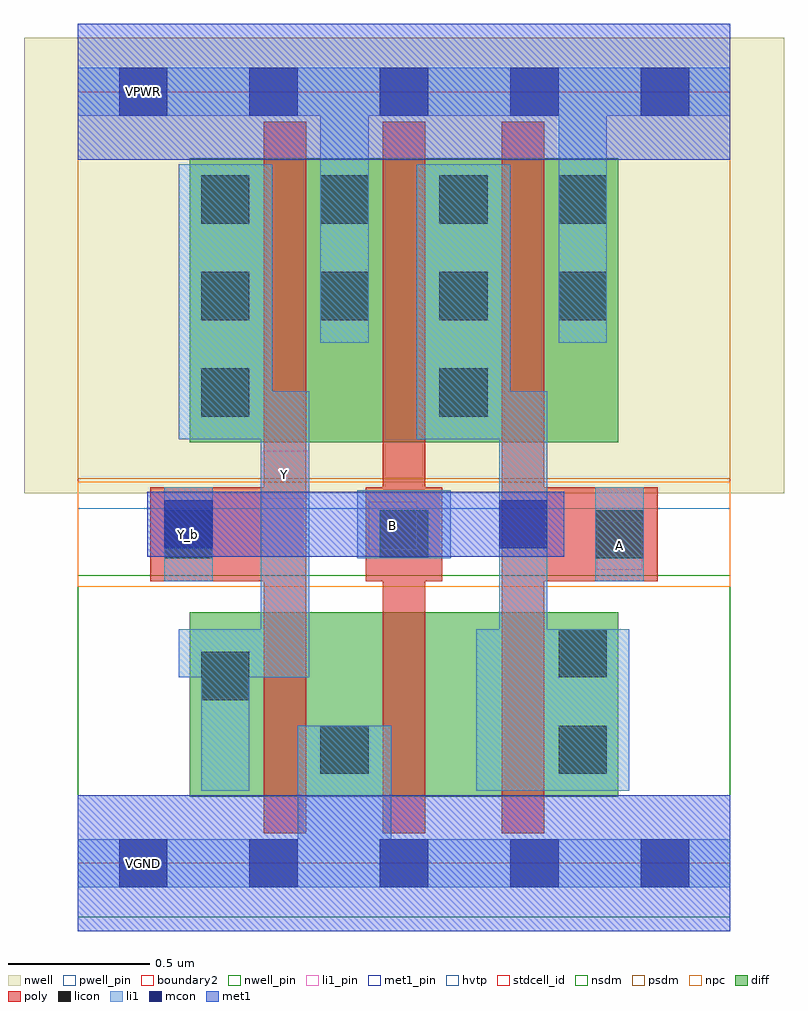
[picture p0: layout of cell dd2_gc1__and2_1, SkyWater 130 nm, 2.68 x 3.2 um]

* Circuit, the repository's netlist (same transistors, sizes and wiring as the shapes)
.subckt dd2_gc1__and2_1 A B VGND VNB VPB VPWR Y
X0 Y_b A n1 VNB sky130_fd_pr__nfet_01v8 w=0.65 l=0.15
X1 n1 B VGND VNB sky130_fd_pr__nfet_01v8 w=0.65 l=0.15
X2 Y_b A VPWR VPB sky130_fd_pr__pfet_01v8_hvt w=1 l=0.15
X3 Y_b B VPWR VPB sky130_fd_pr__pfet_01v8_hvt w=1 l=0.15
X4 Y Y_b VGND VNB sky130_fd_pr__nfet_01v8 w=0.65 l=0.15
X5 Y Y_b VPWR VPB sky130_fd_pr__pfet_01v8_hvt w=1 l=0.15
.ends

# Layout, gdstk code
import gdstk
lib = gdstk.Library(unit=1e-6, precision=1e-09)
def R(c, l, rs):  # rectangles x0, y0, x1, y1
    for r in rs: c.add(gdstk.rectangle(r[:2], r[2:], *l))
def A(c, l, x, y, w, h, nx, ny, dx, dy):  # array of equal rectangles
    R(c, l, [(x+i*dx, y+j*dy, x+i*dx+w, y+j*dy+h) for i in range(nx) for j in range(ny)])
nwell_pin = (64, 16)
nwell = (64, 20)
diff = (65, 20)
poly = (66, 20)
licon = (66, 44)
li1_pin = (67, 16)
li1 = (67, 20)
mcon = (67, 44)
met1_pin = (68, 16)
met1 = (68, 20)
hvtp = (78, 44)
stdcell_id = (81, 4)
nsdm = (93, 44)
psdm = (94, 20)
npc = (95, 20)
pwell_pin = (122, 16)
boundary2 = (236, 0)

dd2_gc1__and2_1 = lib.new_cell('dd2_gc1__and2_1')
R(dd2_gc1__and2_1, nwell_pin, [(0.145,2.635,0.315,2.805)])
R(dd2_gc1__and2_1, nwell, [(-0.19,1.305,2.49,2.91)])
R(dd2_gc1__and2_1, diff, [(0.395,0.235,1.905,0.885), (0.395,1.485,1.905,2.485)])
A(dd2_gc1__and2_1, poly, 0.655, 0.105, 0.15, 2.51, 3, 1, 0.42, 0)
R(dd2_gc1__and2_1, poly, [(0.255,0.995,0.805,1.325), (1.015,0.995,1.285,1.325), (1.495,0.995,2.045,1.325)])
A(dd2_gc1__and2_1, licon, 0.305, 1.075, 0.17, 0.17, 3, 1, 0.76, 0)
A(dd2_gc1__and2_1, licon, 0.435, 1.915, 0.17, 0.17, 4, 2, 0.42, 0.34)
R(dd2_gc1__and2_1, licon, [(0.855,0.315,1.025,0.485), (1.695,0.315,1.865,0.485), (0.435,0.575,0.605,0.745), (1.695,0.655,1.865,0.825), (0.435,1.575,0.605,1.745), (1.275,1.575,1.445,1.745)])
R(dd2_gc1__and2_1, li1_pin, [(1.83,1.035,1.99,1.205), (1.025,1.105,1.195,1.275), (0.65,1.285,0.81,1.455)])
R(dd2_gc1__and2_1, li1, [(0,-0.085,2.3,0.085), (0.775,-0.085,1.105,0.485), (0.435,0.255,0.605,0.825), (1.405,0.255,1.945,0.825), (0.355,0.655,0.815,0.825), (0.645,0.815,0.815,1.505), (1.485,0.815,1.655,1.505), (0.305,0.995,0.475,1.325), (1.825,0.995,1.995,1.325), (0.985,1.075,1.315,1.315), (0.355,1.495,0.815,1.665), (0.355,1.495,0.685,2.465), (1.195,1.495,1.655,1.665), (1.195,1.495,1.525,2.465), (0.855,1.835,1.025,2.805), (1.695,1.835,1.865,2.805), (0,2.635,2.3,2.805)])
A(dd2_gc1__and2_1, mcon, 0.145, -0.085, 0.17, 0.17, 5, 2, 0.46, 2.72)
R(dd2_gc1__and2_1, mcon, [(0.305,1.11,0.475,1.28), (1.485,1.11,1.655,1.28)])
R(dd2_gc1__and2_1, met1_pin, [(0.145,-0.085,0.315,0.085), (0.145,2.635,0.315,2.805)])
R(dd2_gc1__and2_1, met1, [(0,-0.24,2.3,0.24), (0.245,1.08,1.715,1.31), (0,2.48,2.3,2.96)])
R(dd2_gc1__and2_1, hvtp, [(0,1.25,2.3,2.72)])
R(dd2_gc1__and2_1, stdcell_id, [(0,0,2.3,2.72)])
R(dd2_gc1__and2_1, nsdm, [(0,-0.19,2.3,1.015)])
R(dd2_gc1__and2_1, psdm, [(0,1.355,2.3,2.91)])
R(dd2_gc1__and2_1, npc, [(0,0.975,2.3,1.345)])
R(dd2_gc1__and2_1, pwell_pin, [(0.145,-0.085,0.315,0.085)])
R(dd2_gc1__and2_1, boundary2, [(0,0,2.3,2.72)])
dd2_gc1__and2_1.add(gdstk.Label('Y_b', (0.39,1.16), layer=67, texttype=5))
dd2_gc1__and2_1.add(gdstk.Label('B', (1.11,1.19), layer=67, texttype=5))
dd2_gc1__and2_1.add(gdstk.Label('A', (1.91,1.12), layer=67, texttype=5))
dd2_gc1__and2_1.add(gdstk.Label('Y', (0.73,1.37), layer=67, texttype=5))
dd2_gc1__and2_1.add(gdstk.Label('VGND', (0.23,0), layer=68, texttype=5))
dd2_gc1__and2_1.add(gdstk.Label('VPWR', (0.23,2.72), layer=68, texttype=5))
dd2_gc1__and2_1.add(gdstk.Label('VPB', (0.23,2.72), layer=64, texttype=5))
dd2_gc1__and2_1.add(gdstk.Label('VNB', (0.23,0), layer=64, texttype=59))

lib.write_gds('dd2_gc1__and2_1.gds')
